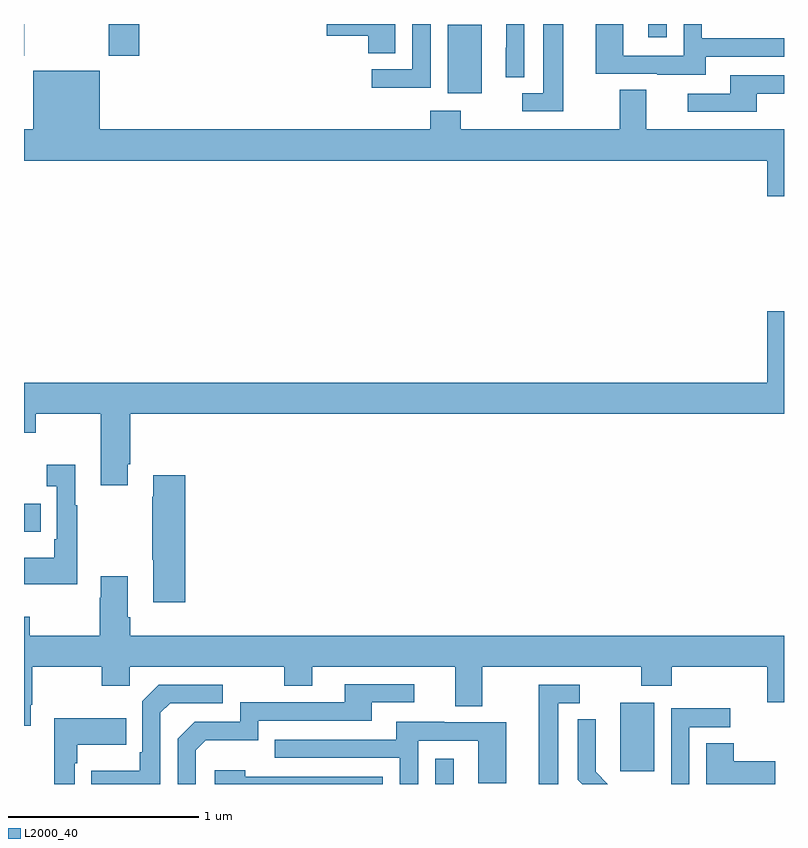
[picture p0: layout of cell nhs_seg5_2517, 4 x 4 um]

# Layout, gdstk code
import gdstk
lib = gdstk.Library(unit=1e-6, precision=1e-09)
def R(c, l, rs):  # rectangles x0, y0, x1, y1
    for r in rs: c.add(gdstk.rectangle(r[:2], r[2:], *l))
def P(c, l, *ps):  # polygons
    for p in ps: c.add(gdstk.Polygon(p, *l))
L2000_40 = (2000, 40)

nhs_seg5_2517 = lib.new_cell('nhs_seg5_2517')
R(nhs_seg5_2517, L2000_40, [(259.164,866.799,259.261,866.932), (260.138,866.865,260.317,867.226), (257,868.127,257.087,868.275), (259.229,870.434,259.408,870.795), (257,870.633,257.001,870.799), (257.446,870.633,257.606,870.799), (260.285,870.729,260.382,870.799)])
P(nhs_seg5_2517, L2000_40, [(259.632,870.799),(259.536,870.799),(259.538,870.797),(259.538,870.674),(259.536,870.674),(259.536,870.52),(259.632,870.52)],
  [(259.14,870.799),(259.044,870.799),(259.044,870.561),(258.831,870.561),(258.831,870.463),(259.14,870.463)],
  [(259.837,870.799),(259.733,870.799),(259.733,870.435),(259.623,870.435),(259.623,870.339),(259.837,870.339)],
  [(260.587,870.627),(261,870.627),(261,870.723),(260.568,870.723),(260.568,870.799),(260.472,870.799),(260.472,870.633),(260.154,870.633),(260.154,870.799),(260.009,870.799),(260.009,870.537),(260.333,870.537),(260.333,870.533),(260.587,870.533)],
  [(258.955,870.799),(258.594,870.799),(258.594,870.737),(258.812,870.737),(258.812,870.646),(258.955,870.646)],
  [(261,870.244),(260.275,870.244),(260.275,870.452),(260.135,870.452),(260.135,870.244),(259.299,870.244),(259.299,870.343),(259.139,870.343),(259.139,870.244),(257.398,870.244),(257.398,870.553),(257.048,870.553),(257.048,870.244),(257,870.244),(257,870.08),(260.912,870.08),(260.912,869.892),(261,869.892)],
  [(260.857,870.432),(261,870.432),(261,870.528),(260.717,870.528),(260.717,870.432),(260.493,870.432),(260.493,870.336),(260.857,870.336)],
  [(257.545,868.483),(257.558,868.483),(257.558,868.748),(261,868.748),(261,869.287),(260.912,869.287),(260.912,868.912),(257,868.912),(257,868.649),(257.061,868.649),(257.061,868.748),(257.405,868.748),(257.405,868.371),(257.545,868.371)],
  [(257.281,868.267),(257.269,868.267),(257.269,868.48),(257.121,868.48),(257.121,868.367),(257.172,868.367),(257.172,868.087),(257.16,868.087),(257.16,867.991),(257,867.991),(257,867.851),(257.281,867.851)],
  [(257.849,868.423),(257.681,868.423),(257.681,868.31),(257.674,868.31),(257.674,867.979),(257.681,867.979),(257.681,867.756),(257.849,867.756)],
  [(257.035,867.217),(257.043,867.217),(257.043,867.416),(257.41,867.416),(257.41,867.317),(257.556,867.317),(257.556,867.416),(258.37,867.416),(258.37,867.317),(258.517,867.317),(258.517,867.416),(259.271,867.416),(259.271,867.208),(259.411,867.208),(259.411,867.416),(260.248,867.416),(260.248,867.317),(260.408,867.317),(260.408,867.416),(260.912,867.416),(260.912,867.228),(261,867.228),(261,867.58),(257.558,867.58),(257.558,867.676),(257.545,867.676),(257.545,867.892),(257.405,867.892),(257.405,867.779),(257.398,867.779),(257.398,867.58),(257.031,867.58),(257.031,867.679),(257,867.679),(257,867.105),(257.035,867.105)],
  [(257.904,866.976),(257.957,867.029),(258.234,867.029),(258.234,867.132),(258.829,867.132),(258.829,867.228),(259.054,867.228),(259.054,867.324),(258.689,867.324),(258.689,867.228),(258.138,867.228),(258.138,867.126),(257.898,867.126),(257.808,867.036),(257.808,866.799),(257.904,866.799)],
  [(257.718,867.174),(257.769,867.225),(258.046,867.225),(258.046,867.321),(257.709,867.321),(257.622,867.234),(257.622,866.965),(257.61,866.965),(257.61,866.869),(257.353,866.869),(257.353,866.799),(257.718,866.799)],
  [(259.813,867.225),(259.924,867.225),(259.924,867.321),(259.709,867.321),(259.709,866.799),(259.813,866.799)],
  [(260.502,867.099),(260.716,867.099),(260.716,867.198),(260.406,867.198),(260.406,866.799),(260.502,866.799)],
  [(257.268,866.909),(257.281,866.909),(257.281,867.005),(257.537,867.005),(257.537,867.145),(257.16,867.145),(257.16,866.799),(257.268,866.799)],
  [(260.009,866.864),(260.009,866.986),(260.01,866.986),(260.01,867.14),(259.914,867.14),(259.914,866.822),(259.937,866.799),(260.073,866.799)],
  [(259.074,867.027),(259.392,867.027),(259.392,866.803),(259.537,866.803),(259.537,867.123),(259.213,867.123),(259.213,867.127),(258.959,867.127),(258.959,867.033),(258.319,867.033),(258.319,866.937),(258.978,866.937),(258.978,866.799),(259.074,866.799)],
  [(260.953,866.919),(260.735,866.919),(260.735,867.014),(260.591,867.014),(260.591,866.799),(260.953,866.799)],
  [(258.888,866.838),(258.164,866.838),(258.164,866.872),(258.003,866.872),(258.003,866.799),(258.888,866.799)])

lib.write_gds('nhs_seg5_2517.gds')
